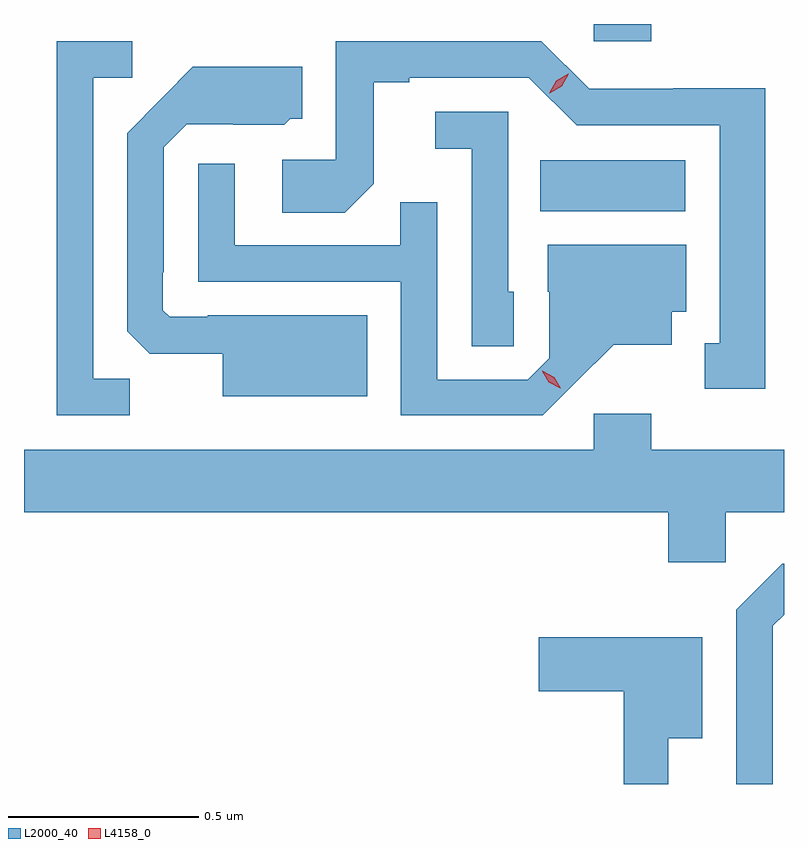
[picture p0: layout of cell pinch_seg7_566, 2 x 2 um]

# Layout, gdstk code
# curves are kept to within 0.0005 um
import gdstk
lib = gdstk.Library(unit=1e-6, precision=1e-09)
def R(c, l, rs):  # rectangles x0, y0, x1, y1
    for r in rs: c.add(gdstk.rectangle(r[:2], r[2:], *l))
def P(c, l, *ps):  # polygons
    for p in ps: c.add(gdstk.Polygon(p, *l))
L2000_40 = (2000, 40)
L4158_0 = (4158, 0)

pinch_seg7_566 = lib.new_cell('pinch_seg7_566')
R(pinch_seg7_566, L2000_40, [(146.914,1072.004,147.295,1072.138), (147.054,1072.451,147.206,1072.497)])
P(pinch_seg7_566, L2000_40, [(147.505,1072.328),(147.264,1072.328),(147.264,1072.326),(147.042,1072.326),(146.916,1072.452),(146.376,1072.452),(146.376,1072.14),(146.235,1072.14),(146.235,1072),(146.399,1072),(146.475,1072.076),(146.475,1072.344),(146.569,1072.344),(146.569,1072.356),(146.883,1072.356),(147.009,1072.23),(147.386,1072.23),(147.386,1071.657),(147.347,1071.657),(147.347,1071.537),(147.505,1071.537)],
  [(145.833,1071.563),(145.737,1071.563),(145.737,1072.356),(145.84,1072.356),(145.84,1072.452),(145.641,1072.452),(145.641,1071.468),(145.833,1071.468)],
  [(146.458,1071.73),(146.038,1071.73),(146.038,1071.726),(145.938,1071.726),(145.92,1071.744),(145.92,1071.844),(145.923,1071.844),(145.923,1072.173),(145.983,1072.233),(146.106,1072.233),(146.106,1072.232),(146.24,1072.232),(146.256,1072.248),(146.287,1072.248),(146.287,1072.384),(145.999,1072.384),(145.827,1072.21),(145.827,1071.688),(145.886,1071.629),(146.078,1071.629),(146.078,1071.518),(146.458,1071.518)],
  [(146.844,1071.792),(146.829,1071.792),(146.829,1072.266),(146.637,1072.266),(146.637,1072.169),(146.733,1072.169),(146.733,1071.649),(146.844,1071.649)],
  [(147.004,1071.551),(147.107,1071.653),(147.259,1071.653),(147.259,1071.74),(147.298,1071.74),(147.298,1071.916),(146.933,1071.916),(146.933,1071.792),(146.937,1071.792),(146.937,1071.618),(146.88,1071.561),(146.643,1071.561),(146.643,1072.028),(146.545,1072.028),(146.545,1071.915),(146.109,1071.915),(146.109,1072.129),(146.013,1072.129),(146.013,1071.819),(146.547,1071.819),(146.547,1071.468),(146.92,1071.468)],
  [(147.402,1071.212),(147.555,1071.212),(147.555,1071.376),(147.206,1071.376),(147.206,1071.472),(147.054,1071.472),(147.054,1071.376),(145.555,1071.376),(145.555,1071.212),(147.251,1071.212),(147.251,1071.081),(147.402,1071.081)],
  [(147.525,1070.913),(147.555,1070.943),(147.555,1071.076),(147.55,1071.076),(147.429,1070.955),(147.429,1070.497),(147.525,1070.497)],
  [(147.251,1070.618),(147.34,1070.618),(147.34,1070.883),(146.91,1070.883),(146.91,1070.741),(147.133,1070.741),(147.133,1070.497),(147.251,1070.497)])
P(pinch_seg7_566, L4158_0, [(146.937,1072.315),(146.937,1072.315),(146.955,1072.348),(146.987,1072.366),(146.988,1072.366),(146.988,1072.366),(146.97,1072.333),(146.938,1072.315)],
  [(146.966,1071.538),(146.936,1071.554),(146.919,1071.583),(146.919,1071.584),(146.919,1071.584),(146.95,1071.568),(146.967,1071.538),(146.967,1071.538)])

lib.write_gds('pinch_seg7_566.gds')
